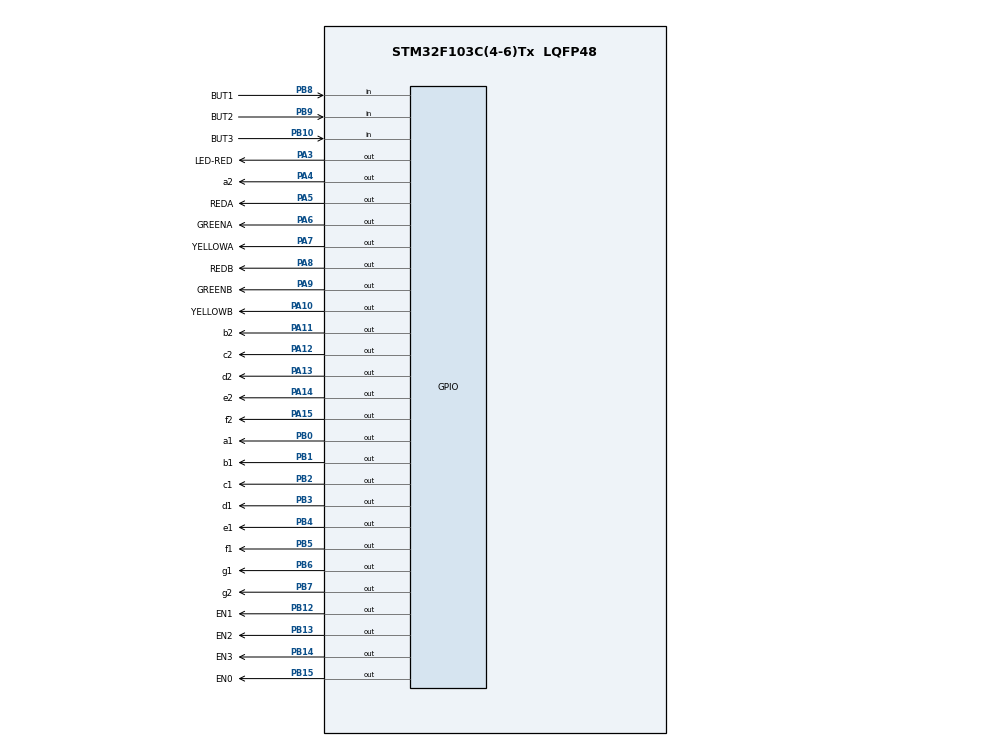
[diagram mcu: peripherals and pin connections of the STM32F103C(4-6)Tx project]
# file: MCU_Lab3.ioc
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Mcu.Family=STM32F1
Mcu.Name=STM32F103C(4-6)Tx
Mcu.Package=LQFP48
NVIC.PriorityGroup=NVIC_PRIORITYGROUP_4
NVIC.TIM2_IRQn=true\:0\:0\:false\:false\:true\:true\:true
PA10.GPIO_Label=YELLOWB
PA10.Signal=GPIO_Output
PA11.GPIO_Label=b2
PA11.Signal=GPIO_Output
PA12.GPIO_Label=c2
PA12.Signal=GPIO_Output
PA13.GPIO_Label=d2
PA13.Signal=GPIO_Output
PA14.GPIO_Label=e2
PA14.Signal=GPIO_Output
PA15.GPIO_Label=f2
PA15.Signal=GPIO_Output
PA3.GPIO_Label=LED-RED
PA3.Signal=GPIO_Output
PA4.GPIO_Label=a2
PA4.Signal=GPIO_Output
PA5.GPIO_Label=REDA
PA5.Signal=GPIO_Output
PA6.GPIO_Label=GREENA
PA6.Signal=GPIO_Output
PA7.GPIO_Label=YELLOWA
PA7.Signal=GPIO_Output
PA8.GPIO_Label=REDB
PA8.Signal=GPIO_Output
PA9.GPIO_Label=GREENB
PA9.Signal=GPIO_Output
PB0.GPIO_Label=a1
PB0.Signal=GPIO_Output
PB1.GPIO_Label=b1
PB1.Signal=GPIO_Output
PB10.GPIO_Label=BUT3
PB10.GPIO_PuPd=GPIO_PULLUP
PB10.Signal=GPIO_Input
PB12.GPIO_Label=EN1
PB12.Signal=GPIO_Output
PB13.GPIO_Label=EN2
PB13.Signal=GPIO_Output
PB14.GPIO_Label=EN3
PB14.Signal=GPIO_Output
PB15.GPIO_Label=EN0
PB15.Signal=GPIO_Output
PB2.GPIO_Label=c1
PB2.Signal=GPIO_Output
PB3.GPIO_Label=d1
PB3.Signal=GPIO_Output
PB4.GPIO_Label=e1
PB4.Signal=GPIO_Output
PB5.GPIO_Label=f1
PB5.Signal=GPIO_Output
PB6.GPIO_Label=g1
PB6.Signal=GPIO_Output
PB7.GPIO_Label=g2
PB7.Signal=GPIO_Output
PB8.GPIO_Label=BUT1
PB8.GPIO_PuPd=GPIO_PULLUP
PB8.Signal=GPIO_Input
PB9.GPIO_Label=BUT2
PB9.GPIO_PuPd=GPIO_PULLUP
PB9.Signal=GPIO_Input
ProjectManager.HeapSize=0x200
ProjectManager.StackSize=0x400
ProjectManager.TargetToolchain=STM32CubeIDE
RCC.APB1Freq_Value=8000000
RCC.APB2Freq_Value=8000000
TIM2.Period=9
TIM2.Prescaler=7999
VP_SYS_VS_ND.Mode=No_Debug
VP_TIM2_VS_ClockSourceINT.Mode=Internal
board=custom

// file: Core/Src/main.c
/* USER CODE BEGIN Header */
/**
  ******************************************************************************
  * @file           : horizontal.c
  * @brief          : horizontal program body
  ******************************************************************************
  * @attention
  *
  * <h2><center>&copy; Copyright (c) 2022 STMicroelectronics.
  * All rights reserved.</center></h2>
  *
  * This software component is licensed by ST under BSD 3-Clause license,
  * the "License"; You may not use this file except in compliance with the
  * License. You may obtain a copy of the License at:
  *                        opensource.org/licenses/BSD-3-Clause
  *
  ******************************************************************************
  */
/* USER CODE END Header */
#include "main.h"

/* USER CODE BEGIN Includes */
#include "button.h"
#include "control_7SEG.h"
#include "fsm_7SEG_horizontal.h"
#include "fsm_7SEG_vertical.h"
#include "fsm_system.h"
#include "fsm_traffic_horizontal.h"
#include "fsm_traffic_vertical.h"
#include "global.h"
#include "traffic.h"
#include "software_timer.h"
/* USER CODE END Includes */

TIM_HandleTypeDef htim2;

void SystemClock_Config(void);
static void MX_GPIO_Init(void);
static void MX_TIM2_Init(void);

int main(void)
{

  /* MCU Configuration--------------------------------------------------------*/

  /* Reset of all peripherals, Initializes the Flash interface and the Systick. */
  HAL_Init();

  /* Configure the system clock */
  SystemClock_Config();

  /* Initialize all configured peripherals */
  MX_GPIO_Init();
  MX_TIM2_Init();
  /* USER CODE BEGIN 2 */
  HAL_TIM_Base_Start_IT(&htim2);
  /* USER CODE END 2 */

  /* Infinite loop */
  /* USER CODE BEGIN WHILE */
  setTimer4(10);
  setTimer6(10);
  setTimer7(500);// toggle led-red vertical road 2Hz
  setTimer8(500);// toggle led-red horizontal road 2Hz
  setTimer10(500);// timer blink led-red for debugging
  while (1)
  {
    /* USER CODE END WHILE */

    /* USER CODE BEGIN 3 */

	  //blink led-red for debugging
	  if(timer10_flag == 1){
		  toggleLedRed();
		  setTimer10(500);
	  }

	  fsm_system_run();
	  fsm_7SEG_horizontal_run();
	  fsm_7SEG_vertical_run();
	  fsm_traffic_vertical_run();
	  fsm_traffic_horizontal_run();

  }
  /* USER CODE END 3 */
}

void SystemClock_Config(void)
{
  RCC_OscInitTypeDef RCC_OscInitStruct = {0};
  RCC_ClkInitTypeDef RCC_ClkInitStruct = {0};

  /** Initializes the RCC Oscillators according to the specified parameters
  * in the RCC_OscInitTypeDef structure.
  */
  RCC_OscInitStruct.OscillatorType = RCC_OSCILLATORTYPE_HSI;
  RCC_OscInitStruct.HSIState = RCC_HSI_ON;
  RCC_OscInitStruct.HSICalibrationValue = RCC_HSICALIBRATION_DEFAULT;
  RCC_OscInitStruct.PLL.PLLState = RCC_PLL_NONE;
  if (HAL_RCC_OscConfig(&RCC_OscInitStruct) != HAL_OK)
  {
    Error_Handler();
  }
  /** Initializes the CPU, AHB and APB buses clocks
  */
  RCC_ClkInitStruct.ClockType = RCC_CLOCKTYPE_HCLK|RCC_CLOCKTYPE_SYSCLK
                              |RCC_CLOCKTYPE_PCLK1|RCC_CLOCKTYPE_PCLK2;
  RCC_ClkInitStruct.SYSCLKSource = RCC_SYSCLKSOURCE_HSI;
  RCC_ClkInitStruct.AHBCLKDivider = RCC_SYSCLK_DIV1;
  RCC_ClkInitStruct.APB1CLKDivider = RCC_HCLK_DIV1;
  RCC_ClkInitStruct.APB2CLKDivider = RCC_HCLK_DIV1;

  if (HAL_RCC_ClockConfig(&RCC_ClkInitStruct, FLASH_LATENCY_0) != HAL_OK)
  {
    Error_Handler();
  }
}

static void MX_TIM2_Init(void)
{

  TIM_ClockConfigTypeDef sClockSourceConfig = {0};
  TIM_MasterConfigTypeDef sMasterConfig = {0};

  htim2.Instance = TIM2;
  htim2.Init.Prescaler = 7999;
  htim2.Init.CounterMode = TIM_COUNTERMODE_UP;
  htim2.Init.Period = 9;
  htim2.Init.ClockDivision = TIM_CLOCKDIVISION_DIV1;
  htim2.Init.AutoReloadPreload = TIM_AUTORELOAD_PRELOAD_DISABLE;
  if (HAL_TIM_Base_Init(&htim2) != HAL_OK)
  {
    Error_Handler();
  }
  sClockSourceConfig.ClockSource = TIM_CLOCKSOURCE_INTERNAL;
  if (HAL_TIM_ConfigClockSource(&htim2, &sClockSourceConfig) != HAL_OK)
  {
    Error_Handler();
  }
  sMasterConfig.MasterOutputTrigger = TIM_TRGO_RESET;
  sMasterConfig.MasterSlaveMode = TIM_MASTERSLAVEMODE_DISABLE;
  if (HAL_TIMEx_MasterConfigSynchronization(&htim2, &sMasterConfig) != HAL_OK)
  {
    Error_Handler();
  }

}

static void MX_GPIO_Init(void)
{
  GPIO_InitTypeDef GPIO_InitStruct = {0};

  /* GPIO Ports Clock Enable */
  __HAL_RCC_GPIOA_CLK_ENABLE();
  __HAL_RCC_GPIOB_CLK_ENABLE();

  /*Configure GPIO pin Output Level */
  HAL_GPIO_WritePin(GPIOA, LED_RED_Pin|a2_Pin|REDA_Pin|GREENA_Pin
                          |YELLOWA_Pin|REDB_Pin|GREENB_Pin|YELLOWB_Pin
                          |b2_Pin|c2_Pin|d2_Pin|e2_Pin
                          |f2_Pin, GPIO_PIN_RESET);

  /*Configure GPIO pin Output Level */
  HAL_GPIO_WritePin(GPIOB, a1_Pin|b1_Pin|c1_Pin|EN1_Pin
                          |EN2_Pin|EN3_Pin|EN0_Pin|d1_Pin
                          |e1_Pin|f1_Pin|g1_Pin|g2_Pin, GPIO_PIN_RESET);

  /*Configure GPIO pins : LED_RED_Pin a2_Pin REDA_Pin GREENA_Pin
                           YELLOWA_Pin REDB_Pin GREENB_Pin YELLOWB_Pin
                           b2_Pin c2_Pin d2_Pin e2_Pin
                           f2_Pin */
  GPIO_InitStruct.Pin = LED_RED_Pin|a2_Pin|REDA_Pin|GREENA_Pin
                          |YELLOWA_Pin|REDB_Pin|GREENB_Pin|YELLOWB_Pin
                          |b2_Pin|c2_Pin|d2_Pin|e2_Pin
                          |f2_Pin;
  GPIO_InitStruct.Mode = GPIO_MODE_OUTPUT_PP;
  GPIO_InitStruct.Pull = GPIO_NOPULL;
  GPIO_InitStruct.Speed = GPIO_SPEED_FREQ_LOW;
  HAL_GPIO_Init(GPIOA, &GPIO_InitStruct);

  /*Configure GPIO pins : a1_Pin b1_Pin c1_Pin EN1_Pin
                           EN2_Pin EN3_Pin EN0_Pin d1_Pin
                           e1_Pin f1_Pin g1_Pin g2_Pin */
  GPIO_InitStruct.Pin = a1_Pin|b1_Pin|c1_Pin|EN1_Pin
                          |EN2_Pin|EN3_Pin|EN0_Pin|d1_Pin
                          |e1_Pin|f1_Pin|g1_Pin|g2_Pin;
  GPIO_InitStruct.Mode = GPIO_MODE_OUTPUT_PP;
  GPIO_InitStruct.Pull = GPIO_NOPULL;
  GPIO_InitStruct.Speed = GPIO_SPEED_FREQ_LOW;
  HAL_GPIO_Init(GPIOB, &GPIO_InitStruct);

  /*Configure GPIO pins : BUT3_Pin BUT1_Pin BUT2_Pin */
  GPIO_InitStruct.Pin = BUT3_Pin|BUT1_Pin|BUT2_Pin;
  GPIO_InitStruct.Mode = GPIO_MODE_INPUT;
  GPIO_InitStruct.Pull = GPIO_PULLUP;
  HAL_GPIO_Init(GPIOB, &GPIO_InitStruct);

}

/* USER CODE BEGIN 4 */
HAL_TIM_PeriodElapsedCallback(TIM_HandleTypeDef *htim)
{
	timerRun();
	getKeyInput();
}
/* USER CODE END 4 */

void Error_Handler(void)
{
  __disable_irq();
  while (1)
  {
  }
}

/************************ (C) COPYRIGHT STMicroelectronics *****END OF FILE****/
